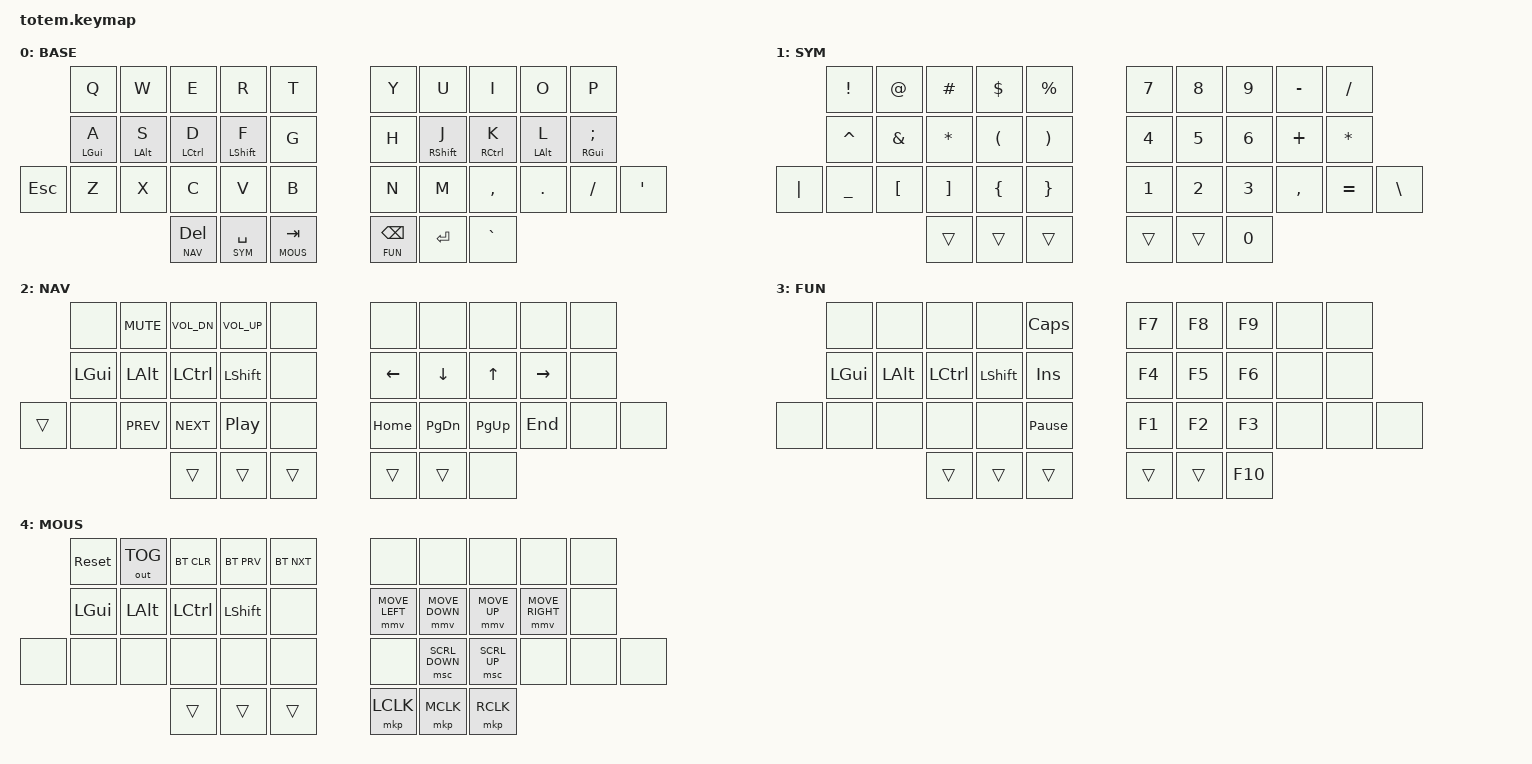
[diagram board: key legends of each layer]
//
//                                                        ▀▀▀▀▀     ▀▀▀▀▀          ▀▀█▀▀
//                                                        ▄▀▀▀▄  ▄  ▄▀▀▀▄  ▄  ▄▀▀▀▄  █  ▄▀▀▀▄
//                                                        █   █  █  █   █  █  █   █  █  █   █
//                                                         ▀▀▀   █   ▀▀▀   █   ▀▀▀   ▀   ▀▀▀
//                                                               █      ▄▄▄█▄▄▄    █   █
//                                                               ▀      █  █  █     █▄█
//                                                             ▀▀▀▀▀    █  █  █      ▀
//                                                                      ▀  ▀  ▀
//
// ▄▄▄▄▄▄▄▄▄▄▄▄▄▄▄▄▄▄▄▄▄▄▄▄▄▄▄▄▄▄▄▄▄▄▄▄▄▄▄▄▄▄▄▄▄▄▄▄▄▄▄▄▄▄▄▄▄▄▄▄▄▄▄▄▄▄▄▄▄▄▄▄▄▄▄▄▄▄▄▄▄▄▄▄▄▄▄▄▄▄▄▄▄▄▄▄▄▄▄▄▄▄▄▄▄▄▄▄▄▄▄▄▄▄▄▄▄▄▄▄▄▄▄▄▄▄▄▄▄▄▄▄▄▄▄▄▄▄▄▄▄▄▄▄▄▄▄▄▄


#include <behaviors.dtsi>
#include <dt-bindings/zmk/keys.h>
#include <dt-bindings/zmk/bt.h>
#include <dt-bindings/zmk/outputs.h>
#include <dt-bindings/zmk/pointing.h>

#define BASE 0
#define SYM  1
#define NAV  2
#define FUN  3
#define MOUS 4

&mt {
  tapping-term-ms = <200>;
  quick-tap-ms = <200>;
  flavor = "tap-preferred";
};

&lt {
  tapping-term-ms = <200>;
  quick-tap-ms = <200>;
};

/ {
     combos {
            compatible = "zmk,combos";
            combo_capsword {
                timeout-ms = <50>;
                key-positions = <13 16>;
                bindings = <&caps_word>;
            };
    };

     keymap {
            compatible = "zmk,keymap";
// ▄▄▄▄▄▄▄▄▄▄▄▄▄▄▄▄▄▄▄▄▄▄▄▄▄▄▄▄▄▄▄▄▄▄▄▄▄▄▄▄▄▄▄▄▄▄▄▄▄▄▄▄▄▄▄▄▄▄▄▄▄▄▄▄▄▄▄▄▄▄▄▄▄▄▄▄▄▄▄▄▄▄▄▄▄▄▄▄▄▄▄▄▄▄▄▄▄▄▄▄▄▄▄▄▄▄▄▄▄▄▄▄▄▄▄▄▄▄▄▄▄▄▄▄▄▄▄▄▄▄▄▄▄▄▄▄▄▄▄▄▄▄▄▄▄▄▄▄▄

            base_layer {
// ┏━━━━━━━━━━━━━━━━━━━━━━━━━━━━━━━━━━━━━━━┓
display-name = "BASE"                      ;
// ┗━━━━━━━━━━━━━━━━━━━━━━━━━━━━━━━━━━━━━━━┛
//             ┏━━━━━━━━━━━┳━━━━━━━━━━━┳━━━━━━━━━━━┳━━━━━━━━━━━┳━━━━━━━━━━━┓   ┏━━━━━━━━━━━┳━━━━━━━━━━━┳━━━━━━━━━━━┳━━━━━━━━━━━┳━━━━━━━━━━━┓
//             ┃     Q     ┃     W     ┃     E     ┃     R     ┃     T     ┃   ┃     Y     ┃     U     ┃     I     ┃     O     ┃     P     ┃
//             ┣━━━━━━━━━━━╋━━━━━━━━━━━╋━━━━━━━━━━━╋━━━━━━━━━━━╋━━━━━━━━━━━┫   ┣━━━━━━━━━━━╋━━━━━━━━━━━╋━━━━━━━━━━━╋━━━━━━━━━━━╋━━━━━━━━━━━┫
//             ┃     A     ┃     S     ┃     D     ┃     F     ┃     G     ┃   ┃     H     ┃     J     ┃     K     ┃     L     ┃     ;     ┃
// ┏━━━━━━━━━━━╋━━━━━━━━━━━╋━━━━━━━━━━━╋━━━━━━━━━━━╋━━━━━━━━━━━╋━━━━━━━━━━━┫   ┣━━━━━━━━━━━╋━━━━━━━━━━━╋━━━━━━━━━━━╋━━━━━━━━━━━╋━━━━━━━━━━━╋━━━━━━━━━━━┓
// ┃    ESC    ┃     Z     ┃     X     ┃     C     ┃     V     ┃     B     ┃   ┃     N     ┃     M     ┃     ,     ┃     .     ┃     /     ┃     '     ┃
// ┗━━━━━━━━━━━┻━━━━━━━━━━━┻━━━━━━━━━━━╋━━━━━━━━━━━╋━━━━━━━━━━━╋━━━━━━━━━━━┫   ┣━━━━━━━━━━━╋━━━━━━━━━━━╋━━━━━━━━━━━╋━━━━━━━━━━━┻━━━━━━━━━━━┻━━━━━━━━━━━┛
//                                     ┃    DEL    ┃    SPC    ┃    TAB    ┃   ┃   BSPC    ┃   ENTER   ┃     `     ┃
//                                     ┗━━━━━━━━━━━┻━━━━━━━━━━━┻━━━━━━━━━━━┛   ┗━━━━━━━━━━━┻━━━━━━━━━━━┻━━━━━━━━━━━┛
 bindings = <
// ╷           ╷           ╷           ╷           ╷           ╷           ╷   ╷           ╷           ╷           ╷           ╷           ╷           ╷

                &kp Q       &kp W       &kp E       &kp R       &kp T           &kp Y       &kp U       &kp I       &kp O       &kp P
                &mt LGUI A  &mt LALT S  &mt LCTRL D &mt LSHFT F &kp G           &kp H       &mt RSHFT J &mt RCTRL K &mt LALT L  &mt RGUI SEMI
    &kp ESC     &kp Z       &kp X       &kp C       &kp V       &kp B           &kp N       &kp M       &kp COMMA   &kp DOT     &kp FSLH    &kp APOS
                                        &lt NAV DEL &lt SYM SPACE &lt MOUS TAB  &lt FUN BSPC &kp RET    &kp GRAVE
                        >;
                };

// ▄▄▄▄▄▄▄▄▄▄▄▄▄▄▄▄▄▄▄▄▄▄▄▄▄▄▄▄▄▄▄▄▄▄▄▄▄▄▄▄▄▄▄▄▄▄▄▄▄▄▄▄▄▄▄▄▄▄▄▄▄▄▄▄▄▄▄▄▄▄▄▄▄▄▄▄▄▄▄▄▄▄▄▄▄▄▄▄▄▄▄▄▄▄▄▄▄▄▄▄▄▄▄▄▄▄▄▄▄▄▄▄▄▄▄▄▄▄▄▄▄▄▄▄▄▄▄▄▄▄▄▄▄▄▄▄▄▄▄▄▄▄▄▄▄▄▄▄▄


                sym_layer {
// ┏━━━━━━━━━━━━━━━━━━━━━━━━━━━━━━━━━━━━━━━┓
display-name = "SYM"                       ;
// ┗━━━━━━━━━━━━━━━━━━━━━━━━━━━━━━━━━━━━━━━┛
//             ┏━━━━━━━━━━━┳━━━━━━━━━━━┳━━━━━━━━━━━┳━━━━━━━━━━━┳━━━━━━━━━━━┓   ┏━━━━━━━━━━━┳━━━━━━━━━━━┳━━━━━━━━━━━┳━━━━━━━━━━━┳━━━━━━━━━━━┓
//             ┃     !     ┃     @     ┃     #     ┃     $     ┃     %     ┃   ┃     7     ┃     8     ┃     9     ┃     -     ┃     /     ┃
//             ┣━━━━━━━━━━━╋━━━━━━━━━━━╋━━━━━━━━━━━╋━━━━━━━━━━━╋━━━━━━━━━━━┫   ┣━━━━━━━━━━━╋━━━━━━━━━━━╋━━━━━━━━━━━╋━━━━━━━━━━━╋━━━━━━━━━━━┫
//             ┃     ^     ┃     &     ┃     *     ┃     (     ┃     )     ┃   ┃     4     ┃     5     ┃     6     ┃     +     ┃     *     ┃
// ┏━━━━━━━━━━━╋━━━━━━━━━━━╋━━━━━━━━━━━╋━━━━━━━━━━━╋━━━━━━━━━━━╋━━━━━━━━━━━┫   ┣━━━━━━━━━━━╋━━━━━━━━━━━╋━━━━━━━━━━━╋━━━━━━━━━━━╋━━━━━━━━━━━╋━━━━━━━━━━━┓
// ┃    |      ┃     _     ┃     [     ┃     ]     ┃     {     ┃     }     ┃   ┃     1     ┃     2     ┃     3     ┃     ,     ┃     =     ┃     \     ┃
// ┗━━━━━━━━━━━┻━━━━━━━━━━━┻━━━━━━━━━━━╋━━━━━━━━━━━╋━━━━━━━━━━━╋━━━━━━━━━━━┫   ┣━━━━━━━━━━━╋━━━━━━━━━━━╋━━━━━━━━━━━╋━━━━━━━━━━━┻━━━━━━━━━━━┻━━━━━━━━━━━┛
//                                     ┃           ┃           ┃           ┃   ┃           ┃     0     ┃           ┃
//                                     ┗━━━━━━━━━━━┻━━━━━━━━━━━┻━━━━━━━━━━━┛   ┗━━━━━━━━━━━┻━━━━━━━━━━━┻━━━━━━━━━━━┛
 bindings = <
// ╷           ╷           ╷           ╷           ╷           ╷           ╷   ╷           ╷           ╷           ╷           ╷           ╷           ╷

                &kp EXCL    &kp AT      &kp HASH    &kp DLLR    &kp PRCNT       &kp N7     &kp N8      &kp N9      &kp MINUS   &kp SLASH
                &kp CARET   &kp AMPS    &kp STAR    &kp LPAR    &kp RPAR        &kp N4     &kp N5      &kp N6      &kp PLUS    &kp STAR
     &kp PIPE   &kp UNDER   &kp LBKT    &kp RBKT    &kp LBRC    &kp RBRC        &kp N1     &kp N2      &kp N3      &kp COMMA   &kp EQUAL   &kp BSLH
                                        &trans      &trans      &trans          &trans     &trans      &kp N0
                        >;
                };

// ▄▄▄▄▄▄▄▄▄▄▄▄▄▄▄▄▄▄▄▄▄▄▄▄▄▄▄▄▄▄▄▄▄▄▄▄▄▄▄▄▄▄▄▄▄▄▄▄▄▄▄▄▄▄▄▄▄▄▄▄▄▄▄▄▄▄▄▄▄▄▄▄▄▄▄▄▄▄▄▄▄▄▄▄▄▄▄▄▄▄▄▄▄▄▄▄▄▄▄▄▄▄▄▄▄▄▄▄▄▄▄▄▄▄▄▄▄▄▄▄▄▄▄▄▄▄▄▄▄▄▄▄▄▄▄▄▄▄▄▄▄▄▄▄▄▄▄▄▄


                nav_layer {
// ┏━━━━━━━━━━━━━━━━━━━━━━━━━━━━━━━━━━━━━━━┓
display-name = "NAV"                       ;
// ┗━━━━━━━━━━━━━━━━━━━━━━━━━━━━━━━━━━━━━━━┛
//             ┏━━━━━━━━━━━┳━━━━━━━━━━━┳━━━━━━━━━━━┳━━━━━━━━━━━┳━━━━━━━━━━━┓   ┏━━━━━━━━━━━┳━━━━━━━━━━━┳━━━━━━━━━━━┳━━━━━━━━━━━┳━━━━━━━━━━━┓
//             ┃           ┃    MUTE   ┃    VOL-   ┃    VOL+   ┃           ┃   ┃           ┃           ┃           ┃           ┃           ┃
//             ┣━━━━━━━━━━━╋━━━━━━━━━━━╋━━━━━━━━━━━╋━━━━━━━━━━━╋━━━━━━━━━━━┫   ┣━━━━━━━━━━━╋━━━━━━━━━━━╋━━━━━━━━━━━╋━━━━━━━━━━━╋━━━━━━━━━━━┫
//             ┃    LGUI   ┃    LALT   ┃   LCTRL   ┃   LSHFT   ┃           ┃   ┃   LEFT    ┃   DOWN    ┃    UP     ┃   RIGHT   ┃           ┃
// ┏━━━━━━━━━━━╋━━━━━━━━━━━╋━━━━━━━━━━━╋━━━━━━━━━━━╋━━━━━━━━━━━╋━━━━━━━━━━━┫   ┣━━━━━━━━━━━╋━━━━━━━━━━━╋━━━━━━━━━━━╋━━━━━━━━━━━╋━━━━━━━━━━━╋━━━━━━━━━━━┓
// ┃           ┃           ┃    PREV   ┃   NEXT    ┃ PLAY/PAUS ┃           ┃   ┃   HOME    ┃  PGDOWN   ┃   PGUP    ┃    END    ┃           ┃           ┃
// ┗━━━━━━━━━━━┻━━━━━━━━━━━┻━━━━━━━━━━━╋━━━━━━━━━━━╋━━━━━━━━━━━╋━━━━━━━━━━━┫   ┣━━━━━━━━━━━╋━━━━━━━━━━━╋━━━━━━━━━━━╋━━━━━━━━━━━┻━━━━━━━━━━━┻━━━━━━━━━━━┛
//                                     ┃           ┃           ┃           ┃   ┃           ┃           ┃           ┃
//                                     ┗━━━━━━━━━━━┻━━━━━━━━━━━┻━━━━━━━━━━━┛   ┗━━━━━━━━━━━┻━━━━━━━━━━━┻━━━━━━━━━━━┛
 bindings = <
// ╷           ╷           ╷           ╷           ╷           ╷           ╷   ╷           ╷           ╷           ╷           ╷           ╷           ╷

                &none       &kp C_MUTE  &kp C_VOL_DN &kp C_VOL_UP &none         &none       &none       &none       &none       &none
                &kp LGUI    &kp LALT    &kp LCTRL   &kp LSHFT   &none           &kp LEFT    &kp DOWN    &kp UP      &kp RIGHT   &none
    &trans      &none       &kp C_PREV  &kp C_NEXT  &kp C_PP    &none           &kp HOME    &kp PG_DN   &kp PG_UP   &kp END     &none       &none
                                        &trans      &trans      &trans          &trans      &trans      &none
                        >;
                };

// ▄▄▄▄▄▄▄▄▄▄▄▄▄▄▄▄▄▄▄▄▄▄▄▄▄▄▄▄▄▄▄▄▄▄▄▄▄▄▄▄▄▄▄▄▄▄▄▄▄▄▄▄▄▄▄▄▄▄▄▄▄▄▄▄▄▄▄▄▄▄▄▄▄▄▄▄▄▄▄▄▄▄▄▄▄▄▄▄▄▄▄▄▄▄▄▄▄▄▄▄▄▄▄▄▄▄▄▄▄▄▄▄▄▄▄▄▄▄▄▄▄▄▄▄▄▄▄▄▄▄▄▄▄▄▄▄▄▄▄▄▄▄▄▄▄▄▄▄▄


                fun_layer {
// ┏━━━━━━━━━━━━━━━━━━━━━━━━━━━━━━━━━━━━━━━┓
display-name = "FUN"                       ;
// ┗━━━━━━━━━━━━━━━━━━━━━━━━━━━━━━━━━━━━━━━┛
//             ┏━━━━━━━━━━━┳━━━━━━━━━━━┳━━━━━━━━━━━┳━━━━━━━━━━━┳━━━━━━━━━━━┓   ┏━━━━━━━━━━━┳━━━━━━━━━━━┳━━━━━━━━━━━┳━━━━━━━━━━━┳━━━━━━━━━━━┓
//             ┃           ┃           ┃           ┃           ┃   CAPS    ┃   ┃    F7     ┃    F8     ┃    F9     ┃           ┃           ┃
//             ┣━━━━━━━━━━━╋━━━━━━━━━━━╋━━━━━━━━━━━╋━━━━━━━━━━━╋━━━━━━━━━━━┫   ┣━━━━━━━━━━━╋━━━━━━━━━━━╋━━━━━━━━━━━╋━━━━━━━━━━━╋━━━━━━━━━━━┫
//             ┃    LGUI   ┃    LALT   ┃   LCTRL   ┃   LSHFT   ┃    INS    ┃   ┃    F4     ┃    F5     ┃    F6     ┃           ┃           ┃
// ┏━━━━━━━━━━━╋━━━━━━━━━━━╋━━━━━━━━━━━╋━━━━━━━━━━━╋━━━━━━━━━━━╋━━━━━━━━━━━┫   ┣━━━━━━━━━━━╋━━━━━━━━━━━╋━━━━━━━━━━━╋━━━━━━━━━━━╋━━━━━━━━━━━╋━━━━━━━━━━━┓
// ┃           ┃           ┃           ┃           ┃           ┃   PAUSE   ┃   ┃    F1     ┃    F2     ┃    F3     ┃           ┃           ┃           ┃
// ┗━━━━━━━━━━━┻━━━━━━━━━━━┻━━━━━━━━━━━╋━━━━━━━━━━━╋━━━━━━━━━━━╋━━━━━━━━━━━┫   ┣━━━━━━━━━━━╋━━━━━━━━━━━╋━━━━━━━━━━━╋━━━━━━━━━━━┻━━━━━━━━━━━┻━━━━━━━━━━━┛
//                                     ┃           ┃           ┃           ┃   ┃           ┃    F10    ┃           ┃
//                                     ┗━━━━━━━━━━━┻━━━━━━━━━━━┻━━━━━━━━━━━┛   ┗━━━━━━━━━━━┻━━━━━━━━━━━┻━━━━━━━━━━━┛
 bindings = <
// ╷           ╷           ╷           ╷           ╷           ╷           ╷   ╷           ╷           ╷           ╷           ╷           ╷           ╷

                &none       &none       &none       &none       &kp CAPS        &kp F7      &kp F8      &kp F9      &none       &none
                &kp LGUI    &kp LALT    &kp LCTRL   &kp LSHFT   &kp INS         &kp F4      &kp F5      &kp F6      &none       &none
    &none       &none       &none       &none       &none       &kp PAUSE_BREAK &kp F1      &kp F2      &kp F3      &none       &none       &none
                                        &trans      &trans      &trans          &trans      &trans      &kp F10
                        >;
                };

// ▄▄▄▄▄▄▄▄▄▄▄▄▄▄▄▄▄▄▄▄▄▄▄▄▄▄▄▄▄▄▄▄▄▄▄▄▄▄▄▄▄▄▄▄▄▄▄▄▄▄▄▄▄▄▄▄▄▄▄▄▄▄▄▄▄▄▄▄▄▄▄▄▄▄▄▄▄▄▄▄▄▄▄▄▄▄▄▄▄▄▄▄▄▄▄▄▄▄▄▄▄▄▄▄▄▄▄▄▄▄▄▄▄▄▄▄▄▄▄▄▄▄▄▄▄▄▄▄▄▄▄▄▄▄▄▄▄▄▄▄▄▄▄▄▄▄▄▄▄


                mous_layer {
// ┏━━━━━━━━━━━━━━━━━━━━━━━━━━━━━━━━━━━━━━━┓
display-name = "MOUS"                      ;
// ┗━━━━━━━━━━━━━━━━━━━━━━━━━━━━━━━━━━━━━━━┛
//             ┏━━━━━━━━━━━┳━━━━━━━━━━━┳━━━━━━━━━━━┳━━━━━━━━━━━┳━━━━━━━━━━━┓   ┏━━━━━━━━━━━┳━━━━━━━━━━━┳━━━━━━━━━━━┳━━━━━━━━━━━┳━━━━━━━━━━━┓
//             ┃   RESET   ┃  OUT TOG  ┃  BT CLEAR ┃  BT PREV  ┃  BT NEXT  ┃   ┃           ┃           ┃           ┃           ┃           ┃
//             ┣━━━━━━━━━━━╋━━━━━━━━━━━╋━━━━━━━━━━━╋━━━━━━━━━━━╋━━━━━━━━━━━┫   ┣━━━━━━━━━━━╋━━━━━━━━━━━╋━━━━━━━━━━━╋━━━━━━━━━━━╋━━━━━━━━━━━┫
//             ┃    LGUI   ┃    LALT   ┃   LCTRL   ┃   LSHFT   ┃           ┃   ┃   MLEFT   ┃   MDOWN   ┃    MUP    ┃   MRIGHT  ┃           ┃
// ┏━━━━━━━━━━━╋━━━━━━━━━━━╋━━━━━━━━━━━╋━━━━━━━━━━━╋━━━━━━━━━━━╋━━━━━━━━━━━┫   ┣━━━━━━━━━━━╋━━━━━━━━━━━╋━━━━━━━━━━━╋━━━━━━━━━━━╋━━━━━━━━━━━╋━━━━━━━━━━━┓
// ┃           ┃           ┃           ┃           ┃           ┃           ┃   ┃           ┃   MWDOWN  ┃   MWUP    ┃           ┃           ┃           ┃
// ┗━━━━━━━━━━━┻━━━━━━━━━━━┻━━━━━━━━━━━╋━━━━━━━━━━━╋━━━━━━━━━━━╋━━━━━━━━━━━┫   ┣━━━━━━━━━━━╋━━━━━━━━━━━╋━━━━━━━━━━━╋━━━━━━━━━━━┻━━━━━━━━━━━┻━━━━━━━━━━━┛
//                                     ┃           ┃           ┃           ┃   ┃   MLCLK   ┃   MCCLK   ┃   MRCLK   ┃
//                                     ┗━━━━━━━━━━━┻━━━━━━━━━━━┻━━━━━━━━━━━┛   ┗━━━━━━━━━━━┻━━━━━━━━━━━┻━━━━━━━━━━━┛
 bindings = <
// ╷           ╷           ╷           ╷           ╷           ╷           ╷   ╷           ╷           ╷           ╷           ╷           ╷           ╷

                &sys_reset  &out OUT_TOG &bt BT_CLR &bt BT_PRV  &bt BT_NXT      &none       &none       &none       &none       &none
                &kp LGUI    &kp LALT    &kp LCTRL   &kp LSHFT   &none           &mmv MOVE_LEFT &mmv MOVE_DOWN &mmv MOVE_UP &mmv MOVE_RIGHT  &none
    &none       &none       &none       &none       &none       &none           &none       &msc SCRL_DOWN &msc SCRL_UP &none   &none       &none
                                        &trans      &trans      &trans          &mkp LCLK   &mkp MCLK   &mkp RCLK
                        >;
                };
        };
};
